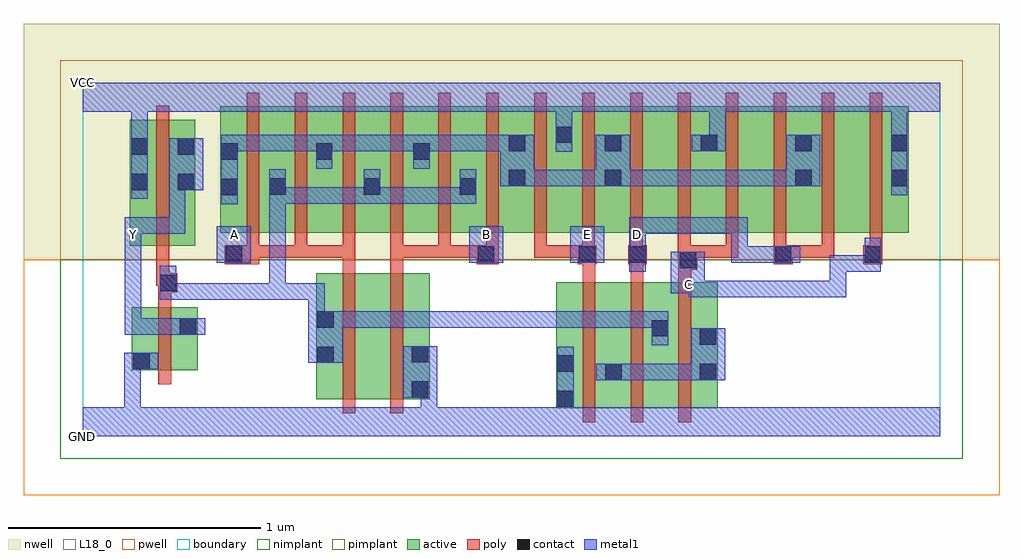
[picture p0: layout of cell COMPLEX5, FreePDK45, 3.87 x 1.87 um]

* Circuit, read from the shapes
.subckt COMPLEX5 A B C D E GND VCC Y
M1 Y n1 GND VSUBS nfet w=0.25u l=0.05u
M2 n2 A n1 VSUBS nfet w=0.5u l=0.05u
M3 GND B n2 VSUBS nfet w=0.5u l=0.05u
M4 n3 E GND VSUBS nfet w=0.5u l=0.05u
M5 n1 D n3 VSUBS nfet w=0.5u l=0.05u
M6 n3 C n1 VSUBS nfet w=0.5u l=0.05u
M7 Y n1 VCC n4 pfet w=0.5u l=0.05u
M8 n1 A n5 n4 pfet w=0.5u l=0.05u m=3
M9 n5 B n1 n4 pfet w=0.5u l=0.05u m=3
M10 VCC E n5 n4 pfet w=0.5u l=0.05u m=2
M11 n6 D n5 n4 pfet w=0.5u l=0.05u
M12 VCC C n6 n4 pfet w=0.5u l=0.05u
M13 n7 C VCC n4 pfet w=0.5u l=0.05u
M14 n5 D n7 n4 pfet w=0.5u l=0.05u
M15 n8 D n5 n4 pfet w=0.5u l=0.05u
M16 VCC C n8 n4 pfet w=0.5u l=0.05u
.ends

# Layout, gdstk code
import gdstk
lib = gdstk.Library(unit=1e-6, precision=1e-09)
def R(c, l, rs):  # rectangles x0, y0, x1, y1
    for r in rs: c.add(gdstk.rectangle(r[:2], r[2:], *l))
def A(c, l, x, y, w, h, nx, ny, dx, dy):  # array of equal rectangles
    R(c, l, [(x+i*dx, y+j*dy, x+i*dx+w, y+j*dy+h) for i in range(nx) for j in range(ny)])
active = (1, 0)
pwell = (2, 0)
nwell = (3, 0)
nimplant = (4, 0)
pimplant = (5, 0)
poly = (9, 0)
contact = (10, 0)
metal1 = (11, 0)
L18_0 = (18, 0)
boundary = (235, 0)

complex5 = lib.new_cell('COMPLEX5')
A(complex5, active, 1.11, 0.807, 0.27, 0.5, 3, 1, 0.38, 0)
A(complex5, active, 1.305, 0.807, 0.075, 0.393, 3, 1, 0.38, 0)
R(complex5, active, [(1.877,0.11,2.142,0.61), (1.877,0.11,1.952,0.61), (2.067,0.11,2.327,0.61), (2.252,0.11,2.517,0.61), (0.925,0.145,1.15,0.645), (0.925,0.145,1.03,0.645), (1.15,0.145,1.375,0.645), (1.3,0.145,1.375,0.645), (2.067,0.145,2.142,0.592), (2.252,0.145,2.327,0.592), (2.442,0.145,2.517,0.61), (0.195,0.26,0.455,0.51), (0.195,0.26,0.27,0.51), (0.38,0.382,0.455,0.51), (0.187,0.755,0.447,1.255), (0.187,0.755,0.262,1.255), (0.372,0.755,0.447,1.2), (0.545,0.807,0.81,1.307), (0.545,0.807,0.62,1.2), (0.735,0.807,0.995,1.307), (0.735,0.807,0.81,1.07), (0.92,0.807,1.185,1.307), (0.92,0.807,0.995,1.2), (1.11,0.807,1.185,1.07), (1.305,0.807,1.565,1.307), (1.49,0.807,1.565,1.07), (1.685,0.807,1.945,1.307), (1.87,0.807,1.945,1.255), (2.065,0.807,2.29,1.307), (2.29,0.807,2.52,1.307), (2.445,0.807,2.52,1.307), (2.445,0.807,2.67,1.307), (2.67,0.807,2.895,1.307), (2.82,0.807,3.05,1.307), (2.82,0.807,2.895,1.2), (3.05,0.807,3.275,1.307), (3.2,0.807,3.275,1.255)])
R(complex5, pwell, [(-0.235,-0.235,3.635,0.7)])
R(complex5, nwell, [(-0.235,0.7,3.635,1.635)])
R(complex5, nimplant, [(-0.09,-0.09,3.49,0.7)])
R(complex5, pimplant, [(-0.09,0.7,3.49,1.49)])
A(complex5, poly, 1.982, 0.055, 0.05, 0.61, 3, 1, 0.19, 0)
A(complex5, poly, 0.65, 0.707, 0.05, 0.095, 14, 1, 0.19, 0)
A(complex5, poly, 0.65, 0.707, 0.05, 0.05, 3, 1, 0.19, 0)
A(complex5, poly, 0.65, 0.752, 0.05, 0.61, 14, 1, 0.19, 0)
R(complex5, poly, [(1.03,0.09,1.08,0.7), (1.22,0.09,1.27,0.7), (0.3,0.205,0.35,0.565), (0.3,0.515,0.35,0.62), (0.3,0.57,0.375,0.645), (0.292,0.595,0.342,0.75), (0.292,0.595,0.35,0.645), (0.3,0.595,0.35,0.645), (1.982,0.615,2.032,0.732), (2.172,0.615,2.222,0.732), (2.362,0.615,2.412,0.71), (1.03,0.65,1.08,0.757), (1.22,0.65,1.27,0.757), (2.362,0.66,2.437,0.735), (0.562,0.682,0.7,0.757), (1.562,0.682,1.65,0.757), (1.962,0.682,2.037,0.757), (1.982,0.682,2.032,0.732), (1.982,0.682,2.032,0.732), (2.162,0.682,2.237,0.757), (2.172,0.682,2.222,0.732), (2.172,0.682,2.222,0.732), (2.74,0.682,2.815,0.757), (3.095,0.682,3.17,0.757), (2.362,0.685,2.412,0.757), (0.292,0.7,0.342,1.31), (0.65,0.707,0.7,0.757), (0.65,0.707,0.89,0.757), (0.84,0.707,1.08,0.757), (1.03,0.707,1.08,0.757), (1.03,0.707,1.08,0.757), (1.03,0.707,1.08,0.757), (1.03,0.707,1.08,0.757), (1.22,0.707,1.27,0.757), (1.22,0.707,1.27,0.757), (1.22,0.707,1.27,0.757), (1.22,0.707,1.27,0.757), (1.22,0.707,1.27,0.757), (1.22,0.707,1.46,0.757), (1.41,0.707,1.46,0.757), (1.41,0.707,1.46,0.757), (1.41,0.707,1.46,0.757), (1.41,0.707,1.612,0.757), (1.79,0.707,1.84,0.757), (1.79,0.707,2.012,0.757), (1.962,0.707,2.012,0.757), (1.962,0.707,2.012,0.757), (2.36,0.707,2.412,0.757), (2.362,0.707,2.6,0.757), (2.55,0.707,2.6,0.757), (2.55,0.707,2.6,0.757), (2.55,0.707,2.6,0.757), (2.765,0.707,2.98,0.757), (2.93,0.707,2.98,0.757), (2.93,0.707,2.98,0.757), (2.93,0.707,2.98,0.757), (3.12,0.707,3.17,0.757), (3.12,0.707,3.17,0.757)])
A(complex5, contact, 1.69, 1.13, 0.065, 0.065, 3, 1, 0.38, 0)
R(complex5, contact, [(1.882,0.115,1.947,0.18), (1.305,0.152,1.37,0.217), (2.072,0.222,2.137,0.287), (2.447,0.222,2.512,0.287), (1.882,0.255,1.947,0.32), (0.2,0.265,0.265,0.33), (0.93,0.29,0.995,0.355), (1.305,0.292,1.37,0.357), (2.447,0.362,2.512,0.427), (2.257,0.395,2.322,0.46), (0.385,0.402,0.45,0.467), (0.93,0.43,0.995,0.495), (0.305,0.575,0.37,0.64), (2.367,0.665,2.432,0.73), (0.567,0.687,0.632,0.752), (1.567,0.687,1.632,0.752), (1.967,0.687,2.032,0.752), (2.167,0.687,2.232,0.752), (2.745,0.687,2.81,0.752), (3.1,0.687,3.165,0.752), (0.55,0.955,0.615,1.02), (0.74,0.957,0.805,1.022), (1.115,0.957,1.18,1.022), (1.495,0.957,1.56,1.022), (0.192,0.975,0.257,1.04), (0.377,0.975,0.442,1.04), (1.69,0.99,1.755,1.055), (2.07,0.99,2.135,1.055), (2.825,0.99,2.89,1.055), (3.205,0.99,3.27,1.055), (0.55,1.095,0.615,1.16), (0.925,1.095,0.99,1.16), (1.31,1.095,1.375,1.16), (0.192,1.115,0.257,1.18), (0.377,1.115,0.442,1.18), (2.825,1.13,2.89,1.195), (3.205,1.13,3.27,1.195), (1.875,1.162,1.94,1.227)])
R(complex5, metal1, [(0,0,3.4,0.115), (0.165,0.05,0.23,0.115), (0.165,0.05,0.23,0.115), (0.165,0.05,0.23,0.33), (1.34,0.05,1.405,0.217), (1.882,0.05,1.947,0.145), (1.882,0.08,1.947,0.355), (1.27,0.152,1.405,0.357), (2.037,0.222,2.172,0.287), (2.107,0.222,2.31,0.287), (2.107,0.222,2.172,0.287), (2.107,0.222,2.172,0.287), (2.245,0.222,2.31,0.287), (2.245,0.222,2.477,0.287), (2.412,0.222,2.477,0.287), (2.412,0.222,2.477,0.287), (2.412,0.222,2.547,0.427), (0.165,0.265,0.23,0.33), (0.165,0.265,0.23,0.33), (0.165,0.265,0.3,0.33), (0.895,0.29,1.03,0.495), (2.257,0.36,2.322,0.495), (0.167,0.402,0.232,0.467), (0.167,0.402,0.232,0.467), (0.167,0.402,0.232,0.467), (0.167,0.402,0.415,0.467), (0.167,0.402,0.232,0.797), (0.35,0.402,0.485,0.467), (0.895,0.43,0.96,0.605), (0.965,0.43,1.17,0.495), (1.105,0.43,1.17,0.495), (1.105,0.43,1.17,0.495), (1.105,0.43,1.17,0.495), (1.105,0.43,1.307,0.495), (1.242,0.43,1.307,0.495), (1.242,0.43,1.317,0.495), (1.252,0.43,1.317,0.495), (1.252,0.43,1.445,0.495), (1.38,0.43,1.445,0.495), (1.38,0.43,1.582,0.495), (1.517,0.43,1.72,0.495), (1.517,0.43,1.582,0.495), (1.517,0.43,1.582,0.495), (1.517,0.43,1.582,0.495), (1.655,0.43,1.72,0.495), (1.655,0.43,1.72,0.495), (1.655,0.43,1.72,0.495), (1.655,0.43,1.927,0.495), (1.862,0.43,2.065,0.495), (1.862,0.43,1.927,0.495), (1.862,0.43,1.927,0.495), (1.862,0.43,1.927,0.495), (2,0.43,2.065,0.495), (2,0.43,2.065,0.495), (2,0.43,2.065,0.495), (2,0.43,2.322,0.495), (0.305,0.54,0.37,0.675), (0.305,0.54,0.37,0.605), (0.305,0.54,0.37,0.605), (0.305,0.54,0.507,0.605), (0.442,0.54,0.507,0.605), (0.442,0.54,0.805,0.605), (0.74,0.54,0.805,0.605), (0.74,0.54,0.805,0.605), (0.74,0.54,0.805,0.605), (0.74,0.54,0.96,0.605), (0.74,0.54,0.805,0.987), (0.895,0.54,0.96,0.605), (0.895,0.54,0.96,0.605), (0.895,0.54,0.96,0.605), (2.402,0.55,2.637,0.615), (2.402,0.55,2.467,0.632), (2.572,0.55,2.637,0.615), (2.572,0.55,2.685,0.615), (2.62,0.55,2.685,0.615), (2.62,0.55,2.822,0.615), (2.757,0.55,2.822,0.615), (2.757,0.55,2.822,0.615), (2.757,0.55,2.822,0.615), (2.757,0.55,3.027,0.615), (2.962,0.55,3.027,0.615), (2.962,0.55,3.027,0.615), (2.962,0.55,3.027,0.717), (2.332,0.567,2.467,0.73), (2.402,0.567,2.467,0.632), (2.167,0.652,2.232,0.867), (2.962,0.652,3.165,0.717), (3.1,0.652,3.165,0.787), (0.532,0.687,0.667,0.832), (1.532,0.687,1.667,0.832), (1.932,0.687,2.067,0.832), (2.572,0.687,2.775,0.752), (2.572,0.687,2.637,0.867), (2.71,0.687,2.845,0.752), (0.167,0.732,0.232,0.867), (0.167,0.802,0.232,0.867), (0.167,0.802,0.232,0.867), (0.167,0.802,0.232,0.867), (0.167,0.802,0.232,0.867), (0.167,0.802,0.407,0.867), (0.342,0.802,0.407,0.867), (0.342,0.802,0.407,1.04), (2.167,0.802,2.31,0.867), (2.245,0.802,2.31,0.867), (2.245,0.802,2.5,0.867), (2.435,0.802,2.5,0.867), (2.435,0.802,2.5,0.867), (2.435,0.802,2.5,0.867), (2.435,0.802,2.637,0.867), (2.572,0.802,2.637,0.867), (2.572,0.802,2.637,0.867), (0.55,0.92,0.615,1.195), (0.74,0.922,0.805,1.057), (0.74,0.922,0.805,0.987), (0.74,0.922,0.805,0.987), (0.74,0.922,1.032,0.987), (0.967,0.922,1.17,0.987), (0.967,0.922,1.032,0.987), (0.967,0.922,1.032,0.987), (0.967,0.922,1.032,0.987), (1.105,0.922,1.17,0.987), (1.105,0.922,1.18,0.987), (1.115,0.922,1.18,1.057), (1.115,0.922,1.307,0.987), (1.242,0.922,1.307,0.987), (1.242,0.922,1.317,0.987), (1.252,0.922,1.317,0.987), (1.252,0.922,1.445,0.987), (1.38,0.922,1.445,0.987), (1.38,0.922,1.56,0.987), (1.495,0.922,1.56,1.057), (0.192,0.94,0.257,1.215), (3.205,0.955,3.27,1.23), (0.342,0.975,0.477,1.18), (1.655,0.99,1.79,1.195), (1.725,0.99,1.79,1.055), (1.725,0.99,1.79,1.055), (1.725,0.99,1.79,1.055), (1.725,0.99,1.79,1.055), (1.725,0.99,1.927,1.055), (1.862,0.99,1.927,1.055), (1.862,0.99,1.927,1.055), (1.862,0.99,1.927,1.055), (1.862,0.99,2.1,1.055), (2.035,0.99,2.17,1.195), (2.105,0.99,2.17,1.055), (2.105,0.99,2.17,1.055), (2.105,0.99,2.31,1.055), (2.245,0.99,2.31,1.055), (2.245,0.99,2.447,1.055), (2.382,0.99,2.447,1.055), (2.382,0.99,2.447,1.055), (2.382,0.99,2.447,1.055), (2.382,0.99,2.637,1.055), (2.572,0.99,2.637,1.055), (2.572,0.99,2.637,1.055), (2.572,0.99,2.637,1.055), (2.572,0.99,2.855,1.055), (2.79,0.99,2.855,1.055), (2.79,0.99,2.855,1.055), (2.79,0.99,2.925,1.195), (0.925,1.06,0.99,1.195), (1.31,1.06,1.375,1.195), (1.875,1.127,1.94,1.262), (0.55,1.13,0.615,1.195), (0.55,1.13,0.615,1.195), (0.55,1.13,0.822,1.195), (0.757,1.13,0.822,1.195), (0.757,1.13,0.99,1.195), (0.925,1.13,0.99,1.195), (0.925,1.13,0.99,1.195), (0.925,1.13,1.17,1.195), (1.105,1.13,1.17,1.195), (1.105,1.13,1.17,1.195), (1.105,1.13,1.17,1.195), (1.105,1.13,1.307,1.195), (1.242,1.13,1.307,1.195), (1.242,1.13,1.375,1.195), (1.31,1.13,1.445,1.195), (1.38,1.13,1.445,1.195), (1.38,1.13,1.582,1.195), (1.517,1.13,1.72,1.195), (1.517,1.13,1.582,1.195), (1.517,1.13,1.582,1.195), (1.517,1.13,1.582,1.195), (2.415,1.13,2.55,1.195), (2.485,1.13,2.55,1.35), (0.192,1.15,0.257,1.35), (3.205,1.165,3.27,1.35), (1.875,1.197,1.94,1.35), (0,1.285,3.4,1.4)])
R(complex5, L18_0, [(0,0,3.4,0.115), (0.165,0.05,0.23,0.115), (0.165,0.05,0.23,0.115), (0.165,0.05,0.23,0.33), (1.34,0.05,1.405,0.217), (1.882,0.05,1.947,0.145), (1.882,0.08,1.947,0.355), (1.27,0.152,1.405,0.357), (0.165,0.265,0.23,0.33), (0.165,0.265,0.23,0.33), (0.165,0.265,0.3,0.33), (0.167,0.402,0.232,0.467), (0.167,0.402,0.232,0.467), (0.167,0.402,0.232,0.467), (0.167,0.402,0.232,0.797), (0.167,0.402,0.415,0.467), (0.35,0.402,0.485,0.467), (2.402,0.55,2.467,0.632), (2.402,0.55,2.637,0.615), (2.572,0.55,2.637,0.615), (2.572,0.55,2.685,0.615), (2.62,0.55,2.685,0.615), (2.62,0.55,2.822,0.615), (2.757,0.55,2.822,0.615), (2.757,0.55,2.822,0.615), (2.757,0.55,2.822,0.615), (2.757,0.55,3.027,0.615), (2.962,0.55,3.027,0.615), (2.962,0.55,3.027,0.615), (2.962,0.55,3.027,0.717), (2.332,0.567,2.467,0.73), (2.367,0.567,2.432,0.632), (2.402,0.567,2.467,0.632), (2.167,0.652,2.232,0.867), (2.962,0.652,3.165,0.717), (3.1,0.652,3.165,0.787), (0.532,0.687,0.667,0.832), (1.532,0.687,1.667,0.832), (1.932,0.687,2.067,0.832), (2.572,0.687,2.637,0.867), (2.572,0.687,2.775,0.752), (2.71,0.687,2.845,0.752), (0.167,0.732,0.232,0.867), (0.167,0.767,0.232,0.832), (0.567,0.767,0.632,0.832), (1.567,0.767,1.632,0.832), (1.967,0.767,2.032,0.832), (2.167,0.767,2.232,0.832), (0.167,0.802,0.232,0.867), (0.167,0.802,0.232,0.867), (0.167,0.802,0.232,0.867), (0.167,0.802,0.232,0.867), (0.167,0.802,0.407,0.867), (0.342,0.802,0.407,0.867), (0.342,0.802,0.407,1.04), (2.167,0.802,2.31,0.867), (2.245,0.802,2.31,0.867), (2.245,0.802,2.5,0.867), (2.435,0.802,2.5,0.867), (2.435,0.802,2.5,0.867), (2.435,0.802,2.5,0.867), (2.435,0.802,2.637,0.867), (2.572,0.802,2.637,0.867), (2.572,0.802,2.637,0.867), (0.192,0.94,0.257,1.215), (3.205,0.955,3.27,1.23), (0.342,0.975,0.477,1.18), (1.875,1.127,1.94,1.262), (2.415,1.13,2.55,1.195), (2.485,1.13,2.55,1.35), (0.192,1.15,0.257,1.35), (3.205,1.165,3.27,1.35), (1.875,1.197,1.94,1.35), (0,1.285,3.4,1.4)])
R(complex5, boundary, [(0,0,3.4,1.4)])
complex5.add(gdstk.Label('A', (0.6,0.8), layer=11, texttype=0))
complex5.add(gdstk.Label('B', (1.6,0.8), layer=11, texttype=0))
complex5.add(gdstk.Label('C', (2.4,0.6), layer=11, texttype=0))
complex5.add(gdstk.Label('D', (2.2,0.8), layer=11, texttype=0))
complex5.add(gdstk.Label('E', (2,0.8), layer=11, texttype=0))
complex5.add(gdstk.Label('Y', (0.2,0.8), layer=11, texttype=0))
complex5.add(gdstk.Label('VCC', (0,1.4), layer=11, texttype=0))
complex5.add(gdstk.Label('GND', (0,0), layer=11, texttype=0))

lib.write_gds('COMPLEX5.gds')
